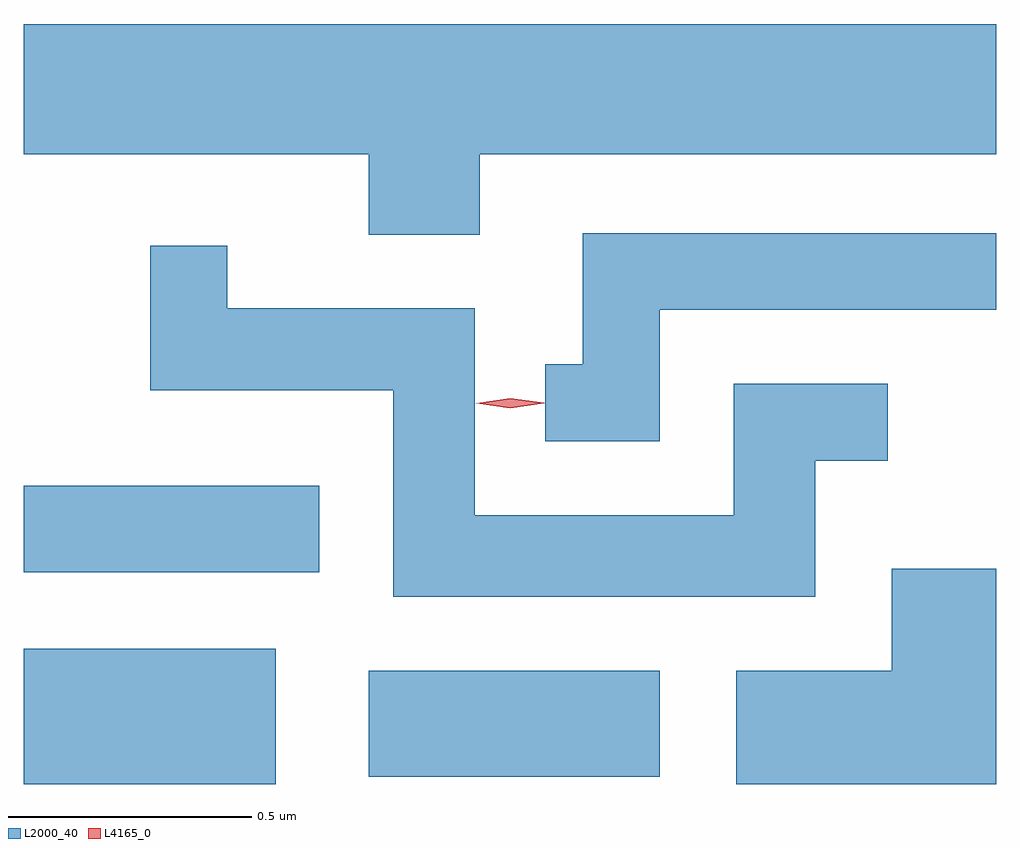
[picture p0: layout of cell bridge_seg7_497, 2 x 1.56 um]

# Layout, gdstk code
import gdstk
lib = gdstk.Library(unit=1e-6, precision=1e-09)
def R(c, l, rs):  # rectangles x0, y0, x1, y1
    for r in rs: c.add(gdstk.rectangle(r[:2], r[2:], *l))
def P(c, l, *ps):  # polygons
    for p in ps: c.add(gdstk.Polygon(p, *l))
L2000_40 = (2000, 40)
L4165_0 = (4165, 0)

bridge_seg7_497 = lib.new_cell('bridge_seg7_497')
R(bridge_seg7_497, L2000_40, [(1442.571,1721.901,1443.089,1722.179), (1443.281,1721.916,1443.879,1722.134), (1442.571,1722.336,1443.179,1722.514)])
P(bridge_seg7_497, L2000_40, [(1443.509,1723.196),(1444.571,1723.196),(1444.571,1723.464),(1442.571,1723.464),(1442.571,1723.196),(1443.281,1723.196),(1443.281,1723.031),(1443.509,1723.031)],
  [(1443.879,1722.876),(1444.571,1722.876),(1444.571,1723.034),(1443.721,1723.034),(1443.721,1722.764),(1443.643,1722.764),(1443.643,1722.606),(1443.879,1722.606)],
  [(1444.199,1722.566),(1444.348,1722.566),(1444.348,1722.724),(1444.031,1722.724),(1444.031,1722.454),(1443.499,1722.454),(1443.499,1722.879),(1442.989,1722.879),(1442.989,1723.008),(1442.831,1723.008),(1442.831,1722.711),(1443.331,1722.711),(1443.331,1722.286),(1444.199,1722.286)],
  [(1444.571,1722.344),(1444.356,1722.344),(1444.356,1722.134),(1444.036,1722.134),(1444.036,1721.901),(1444.571,1721.901)])
P(bridge_seg7_497, L4165_0, [(1443.571,1722.674),(1443.502,1722.684),(1443.502,1722.684),(1443.502,1722.684),(1443.571,1722.694),(1443.641,1722.685),(1443.641,1722.685),(1443.641,1722.684)])

lib.write_gds('bridge_seg7_497.gds')
